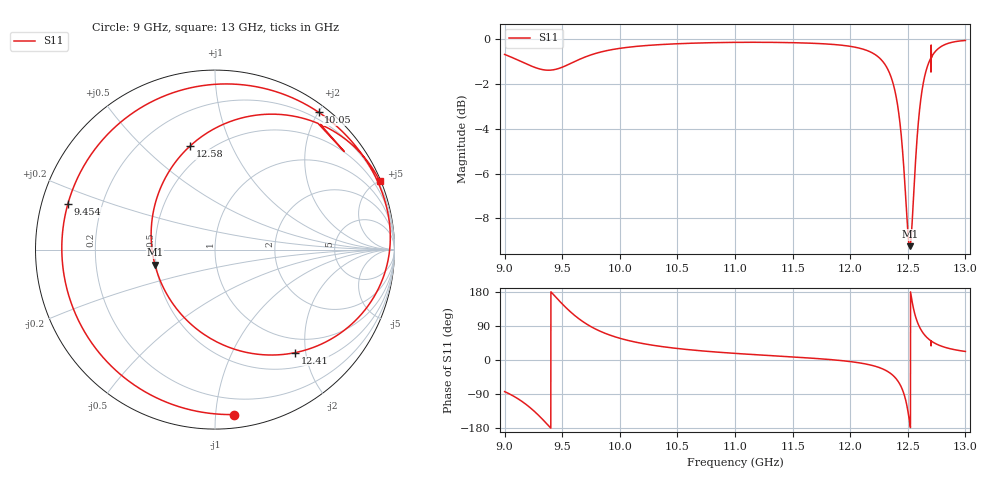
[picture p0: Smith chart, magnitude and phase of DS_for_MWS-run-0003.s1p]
! TOUCHSTONE file generated by CST DESIGN STUDIO
! Date and time: Tue Feb  4 17:42:33 2025
! Project name: C:\Work\MatlabApps\UnitCellOptimizationMatlab\CST\unitcell.cst
! Tree item: Tasks\Sweep1\SPara1\S-Parameters
! Header version: 2024
! Port assignment regex: !\s*Touchstone port\s*([0-9]+)\s*=\s*(CST MWS port|CST DES external port|CST DES block port)\s*(.+)\s* \(\"(.*)\"\)(\s*mode\s*([0-9]+))?.*
! Touchstone port assignment:
! Touchstone port 1 = CST DES external port 1 ("")
# GHz S MA R 50
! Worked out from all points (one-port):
!   4001 points, 9 GHz to 13 GHz, reference 50 ohm
!   lowest |S11| = -9.2 dB at 12.52 GHz (marker M1), VSWR 2.05, Z = 24.6 - j4.64 ohm
!   |S11| at or under -10 dB: nowhere
!   S11 on the Smith chart (normalised r, x): 9 GHz: 0.09, -1.12; 9.454 GHz: 0.08, +0.15; 10.05 GHz: 0.11, +2.00; 12.41 GHz: 0.74, -1.80; 12.58 GHz: 0.40, +0.71; 13 GHz: 0.08, +5.02
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9  0.9252 -83.4
9.127  0.896 -104.5
9.229  0.8722 -127.7
9.353  0.8538 -164.1
9.454  0.8583 162.7
9.5  0.8663 148.1
9.594  0.8884 121.2
9.693  0.9117 98.5
9.84  0.9375 74.5
10  0.9546 57.3
10.053  0.9586 53.0
10.5  0.9775 30.4
11  0.9845 17.5
11.5  0.9828 8.1
12  0.9645 -4.2
12.272  0.8989 -22.3
12.348  0.8327 -34.9
12.406  0.727 -52.2
12.458  0.5495 -81.9
12.5  0.372 -133.3
12.517  0.3452 -166.1
12.545  0.4208 142.3
12.579  0.5938 103.5
12.633  0.7948 71.1
12.683  0.8882 54.7
12.721  0.9266 46.6
12.834  0.9761 32.4
13  0.9941 22.5
